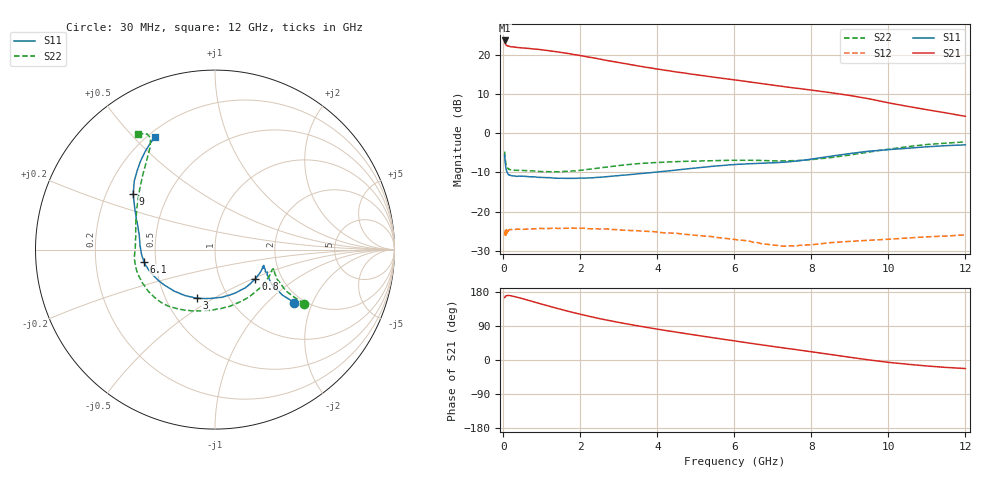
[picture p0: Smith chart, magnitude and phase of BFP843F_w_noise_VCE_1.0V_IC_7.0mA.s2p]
! Infineon Technologies  Discrete & RF Semiconductors
! BFP843F
! VCE =  1.0 V,  IC =  7.0 mA
! Common Emitter S-Parameters:  Aug 2013
# GHz  S  MA  R  50
!  f  S11  S21  S12  S22
! GHz  MAG  ANG  MAG  ANG  MAG  ANG  MAG  ANG
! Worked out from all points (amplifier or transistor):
!   103 points, 30 MHz to 12 GHz, reference 50 ohm
!   highest |S21| = 23.6 dB at 30 MHz (marker M1)
!   |S21| within 3 dB of that: start of sweep to 1.463 GHz
!   unconditionally stable (mu >= 1): 222.1 MHz to 563 MHz; 3.258 GHz to end of sweep
!   at 400 MHz: K = 1.00, MAG = 22.7 dB, |S12| = -24.4 dB
!   at 3.7 GHz: K = 1.04, MAG = 19.7 dB, |S12| = -25.0 dB
!   at 12 GHz: K = 1.46, MAG = 11.1 dB, |S12| = -25.9 dB
!   lowest NFmin = 0.80 dB at 450 MHz
!   S11 on the Smith chart (normalised r, x): 30 MHz: 1.80, -1.48; 800 MHz: 1.47, -0.52; 3 GHz: 0.71, -0.42; 6.1 GHz: 0.43, -0.07; 9 GHz: 0.31, +0.28; 12 GHz: 0.23, +0.57
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0.03  0.5318 -33.8  15.12 164.9  0.0499 31.7  0.5827 -31.2
0.04  0.4519 -34.0  14.3 165.6  0.0534 25.0  0.5038 -30.9
0.05  0.4086 -32.8  13.74 168.0  0.059 19.1  0.4571 -30.2
0.06  0.3707 -31.5  13.5 168.9  0.0501 16.6  0.4193 -28.0
0.1  0.3174 -23.3  12.89 170.0  0.0536 11.3  0.3633 -22.6
0.15  0.2949 -20.8  12.74 170.2  0.0594 8.3  0.345 -18.8
0.8  0.2786 -36.0  11.76 153.1  0.0605 1.0  0.3302 -39.7
1.1  0.272 -47.9  11.33 144.5  0.061 -0.7  0.3248 -53.5
1.4  0.267 -59.9  10.83 136.1  0.0615 -2.6  0.3229 -67.3
1.7  0.2659 -71.5  10.29 128.1  0.0618 -4.1  0.3267 -80.4
2.1  0.2679 -85.6  9.519 118.2  0.0618 -5.9  0.3411 -96.1
2.5  0.2746 -98.0  8.765 109.1  0.0604 -8.3  0.3609 -108.7
3  0.2885 -110.9  7.915 99.2  0.059 -9.4  0.3875 -121.0
3.6  0.3071 -124.6  7.043 88.2  0.0566 -11.9  0.4131 -131.8
4.1  0.3252 -135.2  6.435 79.8  0.0544 -13.8  0.4253 -139.3
5.1  0.365 -154.0  5.455 64.0  0.0497 -14.8  0.4416 -153.5
6.1  0.402 -170.3  4.699 48.9  0.0436 -14.9  0.4525 -167.5
7.2  0.4249 171.8  3.969 33.0  0.0367 -6.0  0.4442 177.0
8.5  0.5086 151.8  3.275 14.5  0.0405 6.6  0.4886 153.4
9  0.5511 145.8  3.016 7.2  0.042 8.8  0.5277 143.4
10.5  0.6431 130.3  2.193 -11.2  0.0464 13.2  0.674 122.5
12  0.7103 118.3  1.637 -22.5  0.0509 19.1  0.7757 123.6
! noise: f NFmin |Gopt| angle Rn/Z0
0.45  0.8  0.09  13  0.04
0.9  0.8  0.09  25  0.05
1.5  0.85  0.09  37  0.05
1.9  0.91  0.09  52  0.06
2.4  0.95  0.1  68  0.06
3.5  1.01  0.12  99  0.12
5.5  1.12  0.16  167  0.16
10  1.75  0.37  -120  0.25
